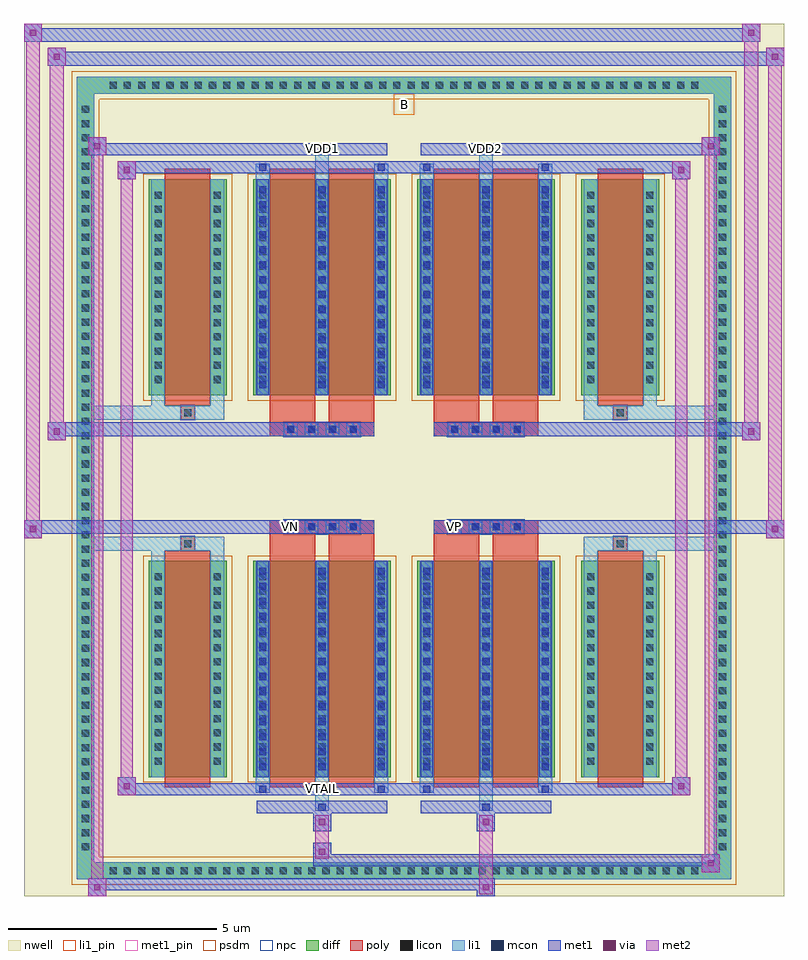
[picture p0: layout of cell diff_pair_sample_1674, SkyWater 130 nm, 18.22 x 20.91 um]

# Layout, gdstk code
import gdstk
lib = gdstk.Library(unit=1e-6, precision=5e-09)
def R(c, l, rs):  # rectangles x0, y0, x1, y1
    for r in rs: c.add(gdstk.rectangle(r[:2], r[2:], *l))
def A(c, l, x, y, w, h, nx, ny, dx, dy):  # array of equal rectangles
    R(c, l, [(x+i*dx, y+j*dy, x+i*dx+w, y+j*dy+h) for i in range(nx) for j in range(ny)])
def P(c, l, *ps):  # polygons
    for p in ps: c.add(gdstk.Polygon(p, *l))
nwell = (64, 20)
diff = (65, 20)
poly = (66, 20)
licon = (66, 44)
li1_pin = (67, 16)
li1 = (67, 20)
mcon = (67, 44)
met1_pin = (68, 16)
met1 = (68, 20)
via = (68, 44)
met2 = (69, 20)
psdm = (94, 20)
npc = (95, 20)

diff_pair_sample_1674 = lib.new_cell('diff_pair_sample_1674')
R(diff_pair_sample_1674, nwell, [(-9.11,-10.02,9.11,10.89), (-6.43,-8.21,-0.01,-0.805), (0.01,-8.21,6.43,-0.805), (-6.43,0.805,-0.01,8.21), (0.01,0.805,6.43,8.21)])
A(diff_pair_sample_1674, diff, -7.175, -9.62, 0.41, 0.41, 42, 2, 0.34, 18.83)
A(diff_pair_sample_1674, diff, -7.84, -9.045, 0.41, 0.41, 1, 53, 0, 0.34)
A(diff_pair_sample_1674, diff, 7.43, -9.045, 0.41, 0.41, 1, 53, 0, 0.34)
R(diff_pair_sample_1674, diff, [(-7.175,-9.62,7.175,-9.21), (-7.84,-9.045,-7.43,9.045), (7.43,-9.045,7.84,9.045), (-6.12,-7.165,-4.25,-1.985), (-3.61,-7.165,-0.32,-1.985), (0.32,-7.165,3.61,-1.985), (4.25,-7.165,6.12,-1.985), (-6.12,1.985,-4.25,7.165), (-3.61,1.985,-0.32,7.165), (0.32,1.985,3.61,7.165), (4.25,1.985,6.12,7.165), (-7.175,9.21,7.175,9.62)])
P(diff_pair_sample_1674, diff, [(7.84,9.62),(-7.84,9.62),(-7.84,-9.21),(-7.43,-9.21),(-7.43,9.21),(7.43,9.21),(7.43,-9.21),(-7.43,-9.21),(-7.84,-9.21),(-7.84,-9.62),(7.84,-9.62)])
A(diff_pair_sample_1674, poly, -2.88, -1.335, 0.33, 0.33, 4, 2, 0.5, 2.34)
A(diff_pair_sample_1674, poly, 1.05, -1.335, 0.33, 0.33, 4, 2, 0.5, 2.34)
R(diff_pair_sample_1674, poly, [(-5.73,-7.415,-4.64,-1.735), (-3.22,-7.415,-2.13,-1.735), (-1.8,-7.415,-0.71,-1.735), (0.71,-7.415,1.8,-1.735), (2.13,-7.415,3.22,-1.735), (4.64,-7.415,5.73,-1.735), (-5.35,-1.735,-5.02,-1.405), (-5.35,-1.735,-5.02,-1.405), (-3.22,-1.735,-2.13,-1.335), (-1.8,-1.735,-0.71,-1.335), (0.71,-1.735,1.8,-1.335), (2.13,-1.735,3.22,-1.335), (5.02,-1.735,5.35,-1.405), (5.02,-1.735,5.35,-1.405), (-3.22,-1.335,-0.71,-1.005), (0.71,-1.335,3.22,-1.005), (-3.22,1.005,-0.71,1.335), (0.71,1.005,3.22,1.335), (-3.22,1.335,-2.13,1.735), (-1.8,1.335,-0.71,1.735), (0.71,1.335,1.8,1.735), (2.13,1.335,3.22,1.735), (-5.35,1.405,-5.02,1.735), (-5.35,1.405,-5.02,1.735), (5.02,1.405,5.35,1.735), (5.02,1.405,5.35,1.735), (-5.73,1.735,-4.64,7.415), (-3.22,1.735,-2.13,7.415), (-1.8,1.735,-0.71,7.415), (0.71,1.735,1.8,7.415), (2.13,1.735,3.22,7.415), (4.64,1.735,5.73,7.415)])
A(diff_pair_sample_1674, licon, -7.055, -9.5, 0.17, 0.17, 42, 2, 0.34, 18.83)
A(diff_pair_sample_1674, licon, -7.72, -8.925, 0.17, 0.17, 1, 53, 0, 0.34)
A(diff_pair_sample_1674, licon, 7.55, -8.925, 0.17, 0.17, 1, 53, 0, 0.34)
A(diff_pair_sample_1674, licon, -5.98, -6.87, 0.17, 0.17, 1, 14, 0, 0.34)
A(diff_pair_sample_1674, licon, -4.56, -6.87, 0.17, 0.17, 1, 14, 0, 0.34)
A(diff_pair_sample_1674, licon, -3.47, -6.87, 0.17, 0.17, 3, 14, 1.42, 0.34)
A(diff_pair_sample_1674, licon, 0.46, -6.87, 0.17, 0.17, 3, 14, 1.42, 0.34)
A(diff_pair_sample_1674, licon, 4.39, -6.87, 0.17, 0.17, 1, 14, 0, 0.34)
A(diff_pair_sample_1674, licon, 5.81, -6.87, 0.17, 0.17, 1, 14, 0, 0.34)
A(diff_pair_sample_1674, licon, -2.8, -1.255, 0.17, 0.17, 4, 2, 0.5, 2.34)
A(diff_pair_sample_1674, licon, 1.13, -1.255, 0.17, 0.17, 4, 2, 0.5, 2.34)
A(diff_pair_sample_1674, licon, -5.98, 2.28, 0.17, 0.17, 1, 14, 0, 0.34)
A(diff_pair_sample_1674, licon, -4.56, 2.28, 0.17, 0.17, 1, 14, 0, 0.34)
A(diff_pair_sample_1674, licon, -3.47, 2.28, 0.17, 0.17, 3, 14, 1.42, 0.34)
A(diff_pair_sample_1674, licon, 0.46, 2.28, 0.17, 0.17, 3, 14, 1.42, 0.34)
A(diff_pair_sample_1674, licon, 4.39, 2.28, 0.17, 0.17, 1, 14, 0, 0.34)
A(diff_pair_sample_1674, licon, 5.81, 2.28, 0.17, 0.17, 1, 14, 0, 0.34)
R(diff_pair_sample_1674, licon, [(-5.27,-1.655,-5.1,-1.485), (5.1,-1.655,5.27,-1.485), (-5.27,1.485,-5.1,1.655), (5.1,1.485,5.27,1.655)])
R(diff_pair_sample_1674, li1_pin, [(-0.25,8.71,0.25,9.21)])
A(diff_pair_sample_1674, li1, -7.135, -9.58, 0.33, 0.33, 42, 2, 0.34, 18.83)
A(diff_pair_sample_1674, li1, -7.8, -9.005, 0.33, 0.33, 1, 53, 0, 0.34)
A(diff_pair_sample_1674, li1, 7.47, -9.005, 0.33, 0.33, 1, 53, 0, 0.34)
A(diff_pair_sample_1674, li1, -3.55, -7.165, 0.33, 5.18, 3, 2, 1.42, 9.15)
A(diff_pair_sample_1674, li1, 0.38, -7.165, 0.33, 5.18, 3, 2, 1.42, 9.15)
A(diff_pair_sample_1674, li1, -3.47, -7, 0.17, 0.17, 3, 14, 1.42, 0.36)
A(diff_pair_sample_1674, li1, -3.47, -7, 0.17, 4.85, 3, 2, 1.42, 9.15)
A(diff_pair_sample_1674, li1, 0.46, -7, 0.17, 0.17, 3, 14, 1.42, 0.36)
A(diff_pair_sample_1674, li1, 0.46, -7, 0.17, 4.85, 3, 2, 1.42, 9.15)
A(diff_pair_sample_1674, li1, -6.06, -6.95, 0.33, 0.33, 1, 14, 0, 0.34)
A(diff_pair_sample_1674, li1, -4.64, -6.95, 0.33, 0.33, 1, 14, 0, 0.34)
A(diff_pair_sample_1674, li1, -3.55, -6.95, 0.33, 0.33, 3, 14, 1.42, 0.34)
A(diff_pair_sample_1674, li1, 0.38, -6.95, 0.33, 0.33, 3, 14, 1.42, 0.34)
A(diff_pair_sample_1674, li1, 4.31, -6.95, 0.33, 0.33, 1, 14, 0, 0.34)
A(diff_pair_sample_1674, li1, 5.73, -6.95, 0.33, 0.33, 1, 14, 0, 0.34)
A(diff_pair_sample_1674, li1, -2.88, -1.335, 0.33, 0.33, 4, 2, 0.5, 2.34)
A(diff_pair_sample_1674, li1, 1.05, -1.335, 0.33, 0.33, 4, 2, 0.5, 2.34)
A(diff_pair_sample_1674, li1, -3.47, 2.15, 0.17, 0.17, 3, 14, 1.42, 0.36)
A(diff_pair_sample_1674, li1, 0.46, 2.15, 0.17, 0.17, 3, 14, 1.42, 0.36)
A(diff_pair_sample_1674, li1, -6.06, 2.2, 0.33, 0.33, 1, 14, 0, 0.34)
A(diff_pair_sample_1674, li1, -4.64, 2.2, 0.33, 0.33, 1, 14, 0, 0.34)
A(diff_pair_sample_1674, li1, -3.55, 2.2, 0.33, 0.33, 3, 14, 1.42, 0.34)
A(diff_pair_sample_1674, li1, 0.38, 2.2, 0.33, 0.33, 3, 14, 1.42, 0.34)
A(diff_pair_sample_1674, li1, 4.31, 2.2, 0.33, 0.33, 1, 14, 0, 0.34)
A(diff_pair_sample_1674, li1, 5.73, 2.2, 0.33, 0.33, 1, 14, 0, 0.34)
R(diff_pair_sample_1674, li1, [(-7.84,-9.62,-7.43,-9.21), (-7.84,-9.62,-7.43,-9.21), (-7.43,-9.62,7.43,-9.21), (7.43,-9.62,7.84,-9.21), (7.43,-9.62,7.84,-9.21), (-7.84,-9.21,-7.43,9.21), (7.43,-9.21,7.84,9.21), (-2.13,-7.97,-1.8,-7.165), (-2.05,-7.97,-1.88,-7.8), (1.8,-7.97,2.13,-7.165), (1.88,-7.97,2.05,-7.8), (-3.55,-7.54,-3.22,-7.165), (-3.47,-7.54,-3.3,-7.37), (-0.71,-7.54,-0.38,-7.165), (-0.63,-7.54,-0.46,-7.37), (0.38,-7.54,0.71,-7.165), (0.46,-7.54,0.63,-7.37), (3.22,-7.54,3.55,-7.165), (3.3,-7.54,3.47,-7.37), (-6.06,-7.165,-5.73,-1.985), (-4.64,-7.165,-4.31,-1.985), (4.31,-7.165,4.64,-1.985), (5.73,-7.165,6.06,-1.985), (-6.06,-1.985,-5.73,-1.405), (-4.64,-1.985,-4.31,-1.405), (4.31,-1.985,4.64,-1.405), (5.73,-1.985,6.06,-1.405), (-7.84,-1.735,-5.35,-1.405), (-6.06,-1.735,-5.35,-1.405), (-5.35,-1.735,-5.02,-1.405), (-5.02,-1.735,-4.31,-1.405), (4.31,-1.735,5.02,-1.405), (5.02,-1.735,5.35,-1.405), (5.02,-1.735,7.84,-1.405), (5.35,-1.735,6.06,-1.405), (-7.84,1.405,-5.35,1.735), (-6.06,1.405,-5.35,1.735), (-6.06,1.405,-5.73,1.985), (-5.35,1.405,-5.02,1.735), (-5.02,1.405,-4.31,1.735), (-4.64,1.405,-4.31,1.985), (4.31,1.405,5.02,1.735), (4.31,1.405,4.64,1.985), (5.02,1.405,5.35,1.735), (5.02,1.405,7.84,1.735), (5.35,1.405,6.06,1.735), (5.73,1.405,6.06,1.985), (-6.06,1.985,-5.73,7.165), (-4.64,1.985,-4.31,7.165), (4.31,1.985,4.64,7.165), (5.73,1.985,6.06,7.165), (-3.55,7.165,-3.22,7.54), (-2.13,7.165,-1.8,7.97), (-0.71,7.165,-0.38,7.54), (0.38,7.165,0.71,7.54), (1.8,7.165,2.13,7.97), (3.22,7.165,3.55,7.54), (-3.47,7.37,-3.3,7.54), (-0.63,7.37,-0.46,7.54), (0.46,7.37,0.63,7.54), (3.3,7.37,3.47,7.54), (-2.05,7.8,-1.88,7.97), (1.88,7.8,2.05,7.97), (-7.84,9.21,-7.43,9.62), (-7.84,9.21,-7.43,9.62), (-7.43,9.21,7.43,9.62), (7.43,9.21,7.84,9.62), (7.43,9.21,7.84,9.62)])
A(diff_pair_sample_1674, mcon, -3.47, -7, 0.17, 0.17, 3, 14, 1.42, 0.36)
A(diff_pair_sample_1674, mcon, 0.46, -7, 0.17, 0.17, 3, 14, 1.42, 0.36)
A(diff_pair_sample_1674, mcon, -2.8, -1.255, 0.17, 0.17, 4, 2, 0.5, 2.34)
A(diff_pair_sample_1674, mcon, 1.13, -1.255, 0.17, 0.17, 4, 2, 0.5, 2.34)
A(diff_pair_sample_1674, mcon, -3.47, 2.15, 0.17, 0.17, 3, 14, 1.42, 0.36)
A(diff_pair_sample_1674, mcon, 0.46, 2.15, 0.17, 0.17, 3, 14, 1.42, 0.36)
R(diff_pair_sample_1674, mcon, [(-2.05,-7.97,-1.88,-7.8), (1.88,-7.97,2.05,-7.8), (-3.47,-7.54,-3.3,-7.37), (-0.63,-7.54,-0.46,-7.37), (0.46,-7.54,0.63,-7.37), (3.3,-7.54,3.47,-7.37), (-3.47,7.37,-3.3,7.54), (-0.63,7.37,-0.46,7.54), (0.46,7.37,0.63,7.54), (3.3,7.37,3.47,7.54), (-2.05,7.8,-1.88,7.97), (1.88,7.8,2.05,7.97)])
R(diff_pair_sample_1674, met1_pin, [(-2.1,-7.58,-1.83,-7.31), (-2.85,-1.295,-2.58,-1.025), (1.08,-1.295,1.35,-1.025), (-2.1,7.76,-1.83,8.03), (1.83,7.76,2.1,8.03)])
A(diff_pair_sample_1674, met1, -3.53, -7.165, 0.29, 5.18, 3, 2, 1.42, 9.15)
A(diff_pair_sample_1674, met1, 0.4, -7.165, 0.29, 5.18, 3, 2, 1.42, 9.15)
A(diff_pair_sample_1674, met1, -3.53, -7.06, 0.29, 0.29, 3, 14, 1.42, 0.36)
A(diff_pair_sample_1674, met1, 0.4, -7.06, 0.29, 0.29, 3, 14, 1.42, 0.36)
A(diff_pair_sample_1674, met1, -2.86, -1.315, 0.29, 0.29, 4, 2, 0.5, 2.34)
A(diff_pair_sample_1674, met1, 1.07, -1.315, 0.29, 0.29, 4, 2, 0.5, 2.34)
A(diff_pair_sample_1674, met1, -3.53, 2.09, 0.29, 0.29, 3, 14, 1.42, 0.36)
A(diff_pair_sample_1674, met1, 0.4, 2.09, 0.29, 0.29, 3, 14, 1.42, 0.36)
R(diff_pair_sample_1674, met1, [(-7.57,-10.02,-7.14,-9.59), (1.75,-10.02,2.18,-9.59), (-7.57,-9.88,2.18,-9.59), (7.14,-9.45,7.57,-9.02), (-2.18,-9.31,7.57,-9.02), (-2.18,-9.17,-1.75,-8.74), (-2.18,-8.46,-1.75,-8.03), (1.75,-8.46,2.18,-8.03), (-3.53,-8.03,-0.4,-7.74), (-2.11,-8.03,-1.82,-7.74), (0.4,-8.03,3.53,-7.74), (1.82,-8.03,2.11,-7.74), (-6.86,-7.6,-6.43,-7.17), (-6.86,-7.6,-3.53,-7.31), (-3.53,-7.6,-3.24,-7.31), (-3.53,-7.6,-0.4,-7.31), (-0.69,-7.6,-0.4,-7.31), (-0.4,-7.6,0.4,-7.31), (0.4,-7.6,0.69,-7.31), (0.4,-7.6,3.53,-7.31), (3.24,-7.6,3.53,-7.31), (3.53,-7.6,6.86,-7.31), (6.43,-7.6,6.86,-7.17), (-9.11,-1.435,-8.68,-1.005), (8.68,-1.435,9.11,-1.005), (-9.11,-1.335,-0.71,-1.005), (-3.22,-1.335,-0.71,-1.005), (0.71,-1.335,3.22,-1.005), (0.71,-1.335,9.11,-1.005), (-8.54,0.905,-8.11,1.335), (8.11,0.905,8.54,1.335), (-8.54,1.005,-3.22,1.335), (-3.22,1.005,-0.71,1.335), (0.71,1.005,3.22,1.335), (3.22,1.005,8.54,1.335), (-6.86,7.17,-6.43,7.6), (6.43,7.17,6.86,7.6), (-6.86,7.31,-3.53,7.6), (-3.53,7.31,-3.24,7.6), (-3.53,7.31,-0.4,7.6), (-0.69,7.31,-0.4,7.6), (-0.4,7.31,0.4,7.6), (0.4,7.31,0.69,7.6), (0.4,7.31,3.53,7.6), (3.24,7.31,3.53,7.6), (3.53,7.31,6.86,7.6), (-7.57,7.74,-7.14,8.17), (-7.57,7.74,-3.53,8.03), (-3.53,7.74,-0.4,8.03), (-2.11,7.74,-1.82,8.03), (0.4,7.74,3.53,8.03), (1.82,7.74,2.11,8.03), (3.53,7.74,7.57,8.03), (7.14,7.74,7.57,8.17), (-8.54,9.89,-8.11,10.32), (-8.54,9.89,-6.43,10.22), (-6.43,9.89,6.43,10.22), (6.43,9.89,9.11,10.22), (8.68,9.89,9.11,10.32), (-9.11,10.46,-8.68,10.89), (-9.11,10.46,-6.43,10.79), (-6.43,10.46,6.43,10.79), (6.43,10.46,8.54,10.79), (8.11,10.46,8.54,10.89)])
R(diff_pair_sample_1674, via, [(-7.43,-9.88,-7.28,-9.73), (1.89,-9.88,2.04,-9.73), (7.28,-9.31,7.43,-9.16), (-2.04,-9.03,-1.89,-8.88), (-2.04,-8.32,-1.89,-8.17), (1.89,-8.32,2.04,-8.17), (-6.72,-7.46,-6.57,-7.31), (6.57,-7.46,6.72,-7.31), (-8.97,-1.295,-8.82,-1.145), (8.82,-1.295,8.97,-1.145), (-8.4,1.045,-8.25,1.195), (8.25,1.045,8.4,1.195), (-6.72,7.31,-6.57,7.46), (6.57,7.31,6.72,7.46), (-7.43,7.88,-7.28,8.03), (7.28,7.88,7.43,8.03), (-8.4,10.03,-8.25,10.18), (8.82,10.03,8.97,10.18), (-8.97,10.6,-8.82,10.75), (8.25,10.6,8.4,10.75)])
R(diff_pair_sample_1674, met2, [(-7.57,-10.02,-7.14,-9.59), (-7.5,-10.02,-7.21,8.17), (-7.21,-10.02,-7.14,-9.59), (-7.52,-9.97,-7.19,-9.64), (1.8,-9.97,2.13,-9.64), (1.8,-9.64,2.13,-8.41), (7.14,-9.45,7.57,-9.02), (7.21,-9.45,7.5,8.17), (7.5,-9.45,7.57,-9.02), (7.19,-9.4,7.52,-9.07), (-2.13,-9.12,-1.8,-8.79), (-2.13,-8.79,-1.8,-8.41), (-2.13,-8.41,-1.8,-8.08), (1.8,-8.41,2.13,-8.08), (-6.86,-7.6,-6.43,-7.17), (-6.79,-7.6,-6.5,7.6), (-6.5,-7.6,-6.43,-7.17), (6.43,-7.6,6.86,-7.17), (6.5,-7.6,6.79,7.6), (6.79,-7.6,6.86,-7.17), (-6.81,-7.55,-6.48,-7.22), (6.48,-7.55,6.81,-7.22), (-9.11,-1.435,-8.68,-1.005), (-9.06,-1.435,-8.73,10.89), (-8.73,-1.435,-8.68,-1.005), (8.68,-1.435,9.11,-1.005), (8.73,-1.435,9.06,10.32), (9.06,-1.435,9.11,-1.005), (-9.06,-1.385,-8.73,-1.055), (8.73,-1.385,9.06,-1.055), (-8.54,0.905,-8.11,1.335), (-8.49,0.905,-8.16,10.32), (-8.16,0.905,-8.11,1.335), (8.11,0.905,8.54,1.335), (8.16,0.905,8.49,10.89), (8.49,0.905,8.54,1.335), (-8.49,0.955,-8.16,1.285), (8.16,0.955,8.49,1.285), (-6.86,7.17,-6.43,7.6), (-6.5,7.17,-6.43,7.6), (6.43,7.17,6.86,7.6), (6.79,7.17,6.86,7.6), (-6.81,7.22,-6.48,7.55), (6.48,7.22,6.81,7.55), (-7.57,7.74,-7.14,8.17), (-7.21,7.74,-7.14,8.17), (7.14,7.74,7.57,8.17), (7.5,7.74,7.57,8.17), (-7.52,7.79,-7.19,8.12), (7.19,7.79,7.52,8.12), (-8.54,9.89,-8.11,10.32), (-8.16,9.89,-8.11,10.32), (8.68,9.89,9.11,10.32), (9.06,9.89,9.11,10.32), (-8.49,9.94,-8.16,10.27), (8.73,9.94,9.06,10.27), (-9.11,10.46,-8.68,10.89), (-8.73,10.46,-8.68,10.89), (8.11,10.46,8.54,10.89), (8.49,10.46,8.54,10.89), (-9.06,10.51,-8.73,10.84), (8.16,10.51,8.49,10.84)])
R(diff_pair_sample_1674, psdm, [(-6.25,-7.295,-4.12,-1.855), (-3.74,-7.295,-0.19,-1.855), (0.19,-7.295,3.74,-1.855), (4.12,-7.295,6.25,-1.855), (-6.25,1.855,-4.12,7.295), (-3.74,1.855,-0.19,7.295), (0.19,1.855,3.74,7.295), (4.12,1.855,6.25,7.295)])
P(diff_pair_sample_1674, psdm, [(7.97,9.75),(-7.97,9.75),(-7.97,-9.08),(-7.3,-9.08),(-7.3,9.08),(7.3,9.08),(7.3,-9.08),(-7.3,-9.08),(-7.97,-9.08),(-7.97,-9.75),(7.97,-9.75)])
A(diff_pair_sample_1674, npc, -2.9, -1.355, 0.37, 0.37, 4, 2, 0.5, 2.34)
A(diff_pair_sample_1674, npc, 1.03, -1.355, 0.37, 0.37, 4, 2, 0.5, 2.34)
R(diff_pair_sample_1674, npc, [(-5.37,-1.755,-5,-1.385), (5,-1.755,5.37,-1.385), (-2.9,-1.355,-2.03,-0.985), (-2.9,-1.355,-2.03,-0.985), (-2.4,-1.355,-1.53,-0.985), (-2.4,-1.355,-1.53,-0.985), (-1.9,-1.355,-1.03,-0.985), (-1.9,-1.355,-1.03,-0.985), (1.03,-1.355,1.9,-0.985), (1.03,-1.355,1.9,-0.985), (1.53,-1.355,2.4,-0.985), (1.53,-1.355,2.4,-0.985), (2.03,-1.355,2.9,-0.985), (2.03,-1.355,2.9,-0.985), (-2.9,0.985,-2.03,1.355), (-2.9,0.985,-2.03,1.355), (-2.4,0.985,-1.53,1.355), (-2.4,0.985,-1.53,1.355), (-1.9,0.985,-1.03,1.355), (-1.9,0.985,-1.03,1.355), (1.03,0.985,1.9,1.355), (1.03,0.985,1.9,1.355), (1.53,0.985,2.4,1.355), (1.53,0.985,2.4,1.355), (2.03,0.985,2.9,1.355), (2.03,0.985,2.9,1.355), (-5.37,1.385,-5,1.755), (5,1.385,5.37,1.755)])
diff_pair_sample_1674.add(gdstk.Label('VTAIL', (-1.965,-7.445), layer=68, texttype=5))
diff_pair_sample_1674.add(gdstk.Label('VN', (-2.715,-1.16), layer=68, texttype=5))
diff_pair_sample_1674.add(gdstk.Label('VP', (1.215,-1.16), layer=68, texttype=5))
diff_pair_sample_1674.add(gdstk.Label('B', (0,8.96), layer=67, texttype=5))
diff_pair_sample_1674.add(gdstk.Label('VDD2', (1.965,7.895), layer=68, texttype=5))
diff_pair_sample_1674.add(gdstk.Label('VDD1', (-1.965,7.895), layer=68, texttype=5))

lib.write_gds('diff_pair_sample_1674.gds')
